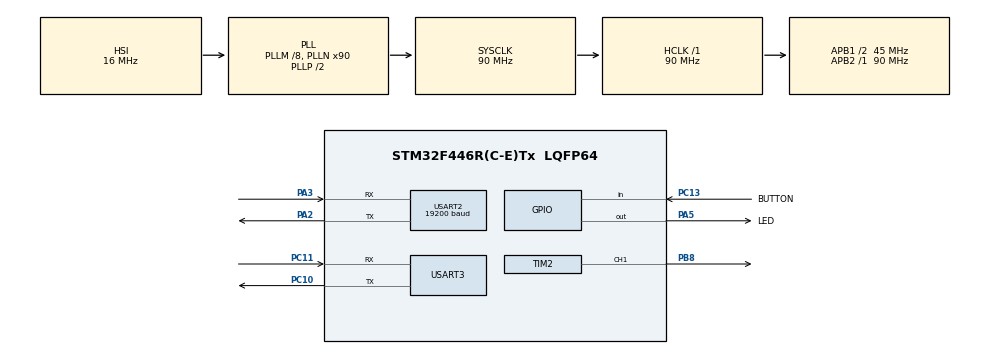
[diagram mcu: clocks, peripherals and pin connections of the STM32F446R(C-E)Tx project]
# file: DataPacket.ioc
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Mcu.Family=STM32F4
Mcu.Name=STM32F446R(C-E)Tx
Mcu.Package=LQFP64
NVIC.PriorityGroup=NVIC_PRIORITYGROUP_4
NVIC.TIM1_BRK_TIM9_IRQn=true\:0\:0\:false\:false\:true\:true\:true\:true
NVIC.USART2_IRQn=true\:0\:0\:false\:false\:true\:true\:true\:true
PA2.Mode=Asynchronous
PA2.Signal=USART2_TX
PA3.Mode=Asynchronous
PA3.Signal=USART2_RX
PA5.GPIO_Label=LED
PA5.Signal=GPIO_Output
PB8.Signal=S_TIM2_CH1_ETR
PC10.Mode=Asynchronous
PC10.Signal=USART3_TX
PC11.Mode=Asynchronous
PC11.Signal=USART3_RX
PC13.GPIO_Label=BUTTON
PC13.Signal=GPIO_Input
ProjectManager.HeapSize=0x200
ProjectManager.StackSize=0x400
ProjectManager.TargetToolchain=STM32CubeIDE
RCC.AHBFreq_Value=90000000
RCC.APB1CLKDivider=RCC_HCLK_DIV2
RCC.APB1Freq_Value=45000000
RCC.APB1TimFreq_Value=90000000
RCC.APB2Freq_Value=90000000
RCC.APB2TimFreq_Value=90000000
RCC.CortexFreq_Value=90000000
RCC.HCLKFreq_Value=90000000
RCC.PLLM=8
RCC.PLLN=90
RCC.SYSCLKFreq_VALUE=90000000
RCC.SYSCLKSource=RCC_SYSCLKSOURCE_PLLCLK
RCC.USBFreq_Value=90000000
RCC.VCOOutputFreq_Value=180000000
SH.S_TIM2_CH1_ETR.0=TIM2_CH1,PWM Generation1 CH1
TIM2.AutoReloadPreload=TIM_AUTORELOAD_PRELOAD_DISABLE
TIM2.Channel-PWM\ Generation1\ CH1=TIM_CHANNEL_1
TIM2.ClockDivision=TIM_CLOCKDIVISION_DIV1
TIM2.OC1Preload_PWM=ENABLE
TIM2.OCFastMode_PWM-PWM\ Generation1\ CH1=TIM_OCFAST_DISABLE
TIM2.OCMode_PWM-PWM\ Generation1\ CH1=TIM_OCMODE_PWM1
TIM2.Period=4500
TIM2.Prescaler=0
TIM2.Pulse-PWM\ Generation1\ CH1=2250
TIM9.Period=90
TIM9.Prescaler=100-1
USART2.BaudRate=19200
USART2.VirtualMode=VM_ASYNC
USART3.VirtualMode=VM_ASYNC
VP_TIM9_VS_ClockSourceINT.Mode=Internal
board=custom

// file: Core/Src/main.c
/* USER CODE BEGIN Header */
/**
  ******************************************************************************
  * @file           : main.c
  * @brief          : Main program body
  ******************************************************************************
  * @attention
  *
  * Copyright (c) 2023 STMicroelectronics.
  * All rights reserved.
  *
  * This software is licensed under terms that can be found in the LICENSE file
  * in the root directory of this software component.
  * If no LICENSE file comes with this software, it is provided AS-IS.
  *
  ******************************************************************************
  */
/* USER CODE END Header */
#include "main.h"

TIM_HandleTypeDef htim2;
TIM_HandleTypeDef htim9;

UART_HandleTypeDef huart2;
UART_HandleTypeDef huart3;

/* USER CODE BEGIN PV */
DataPacketTx dataPacketTx;
DataPacketRx dataPacketRx;

uint8_t receivedByte = 0x00;
uint8_t bytes[16] = {0x00, 0x01, 0x02, 0x03, 0x04, 0x05, 0x06, 0x07,
				 	 0x08, 0x09, 0x0A, 0x0B, 0x0C, 0x0D, 0x0E, 0x0F
					};

uint32_t counterTimer1 = 0;
uint32_t counterTimer2 = 0;
uint32_t counterTimer3 = 0;

Application app;
uint8_t stateMachine = 0x00;

/* USER CODE END PV */

void SystemClock_Config(void);
static void MX_GPIO_Init(void);
static void MX_USART2_UART_Init(void);
static void MX_TIM9_Init(void);
static void MX_USART3_UART_Init(void);
static void MX_TIM2_Init(void);

/* USER CODE BEGIN 0 */

/*
 * Timer interrupt handling (100us)
 */
void HAL_TIM_PeriodElapsedCallback(TIM_HandleTypeDef *htim)
{
	if (htim == &htim9)
	{
		counterTimer1++;
		counterTimer2++;
		counterTimer3++;
	}
}

/*
 * Interrupt for UART RX
 */
void HAL_UART_RxCpltCallback(UART_HandleTypeDef *huart)
{
	if (huart == &huart2)
	{
		HAL_UART_Receive_IT(&huart2, &receivedByte, 1);
		dataPacketRxAppend(&dataPacketRx, receivedByte);
		receivedByte = 0x00;
	}
}

/* USER CODE END 0 */

int main(void)
{

  /* MCU Configuration--------------------------------------------------------*/

  /* Reset of all peripherals, Initializes the Flash interface and the Systick. */
  HAL_Init();

  /* Configure the system clock */
  SystemClock_Config();

  /* Initialize all configured peripherals */
  MX_GPIO_Init();
  MX_USART2_UART_Init();
  MX_TIM9_Init();
  MX_USART3_UART_Init();
  MX_TIM2_Init();
  /* USER CODE BEGIN 2 */

  HAL_TIM_Base_Start_IT(&htim9);
  HAL_TIM_PWM_Start(&htim2, TIM_CHANNEL_1);
  dataPacketTxInit(&dataPacketTx, 0xAA, 0x55);
  dataPacketRxInit(&dataPacketRx, 0xAA, 0x55);
  applicationInit(&app, LED_GPIO_Port, LED_Pin, &htim2, TIM_CHANNEL_1);
  HAL_UART_Receive_IT(&huart2, &receivedByte, 1);

  /* USER CODE END 2 */

  /* Infinite loop */
  while (1)
  {

    /* USER CODE BEGIN 3 */

	  /* ============================================================================= */

	  /********************************* TOP SLOT START ********************************/

	  /* Put here the code to be executed in all cycles before the state machine */

	  /********************************** TOP SLOT END *********************************/

	  /* ============================================================================= */

	  /****************************** STATE MACHINE START ******************************/

	  switch (stateMachine)
	  {
	  	  case 0:
	  		  if (counterTimer1 >= DELAY_10_MILISECONDS)
	  		  {
	  			dataPacketRxDecode(&dataPacketRx);
	  			counterTimer1 = 0;
	  		  }
	  		  stateMachine = 1;
	  		  break;

		  case 1:
			  if (dataPacketRxGetDataPacketStatus(&dataPacketRx) == VALID_RX_DATA_PACKET)
			  {
				  uint8_t receivedCmd = dataPacketRxGetCommand(&dataPacketRx);
				  uint8_t receivedPayloadDataLength = dataPacketRxGetPayloadDataLength(&dataPacketRx);

				  if (receivedPayloadDataLength > 0)
				  {
					  uint8_t *receivedPayloadData = dataPacketRxGetPayloadData(&dataPacketRx);
					  applicationSetData(&app, receivedPayloadData, receivedPayloadDataLength);
				  }

				  applicationSetCommand(&app, receivedCmd);
				  applicationSetDecodeStatus(&app, TRUE);
				  dataPacketRxClear(&dataPacketRx);
			  }
			  stateMachine = 2;
			  break;

		  case 2:
			  if (applicationGetDecodeStatus(&app) == TRUE)
			  {
				  applicationDecodeCommand(&app);
				  applicationSetDecodeStatus(&app, FALSE);
			  }
			  stateMachine = 3;
			  break;

		  case 3:
			  if (counterTimer2 >= applicationGetBlinkDelay(&app))
			  {
				  applicationExecuteBlinkLed(&app);
				  counterTimer2 = 0;
			  }
			  stateMachine = 4;
			  break;

		  case 4:
			  if (counterTimer3 >= DELAY_1000_MILISECONDS)
			  {
				  dataPacketTxSetCommand(&dataPacketTx, 0x01);
				  dataPacketTxSetPayloadData(&dataPacketTx, bytes, 16);
				  dataPacketTxMount(&dataPacketTx);
				  dataPacketTxUartSend(&dataPacketTx, huart2);
				  dataPacketTxPayloadDataClear(&dataPacketTx);
				  dataPacketTxClear(&dataPacketTx);
				  counterTimer3 = 0;
			  }
			  stateMachine = 5;
			  break;

		  case 5:
			  if (applicationGetUpdateDutyCycle(&app) == TRUE)
			  {
				  applicationUpdateDutyCycle(&app);
				  applicationSetUpdateDutyCycle(&app, FALSE);
			  }
			  stateMachine = 0;
			  break;

		  default:
			  stateMachine = 0;
			  break;
	  }

	  /******************************* STATE MACHINE END *******************************/

	  /* ============================================================================= */

	  /******************************* BOTTOM SLOT START *******************************/

	  /* Put here the code to be executed in all cycles after the state machine */

	  /******************************** BOTTOM SLOT END ********************************/

	  /* ============================================================================= */
  }
  /* USER CODE END 3 */
}

void SystemClock_Config(void)
{
  RCC_OscInitTypeDef RCC_OscInitStruct = {0};
  RCC_ClkInitTypeDef RCC_ClkInitStruct = {0};

  /** Configure the main internal regulator output voltage
  */
  __HAL_RCC_PWR_CLK_ENABLE();
  __HAL_PWR_VOLTAGESCALING_CONFIG(PWR_REGULATOR_VOLTAGE_SCALE3);

  /** Initializes the RCC Oscillators according to the specified parameters
  * in the RCC_OscInitTypeDef structure.
  */
  RCC_OscInitStruct.OscillatorType = RCC_OSCILLATORTYPE_HSI;
  RCC_OscInitStruct.HSIState = RCC_HSI_ON;
  RCC_OscInitStruct.HSICalibrationValue = RCC_HSICALIBRATION_DEFAULT;
  RCC_OscInitStruct.PLL.PLLState = RCC_PLL_ON;
  RCC_OscInitStruct.PLL.PLLSource = RCC_PLLSOURCE_HSI;
  RCC_OscInitStruct.PLL.PLLM = 8;
  RCC_OscInitStruct.PLL.PLLN = 90;
  RCC_OscInitStruct.PLL.PLLP = RCC_PLLP_DIV2;
  RCC_OscInitStruct.PLL.PLLQ = 2;
  RCC_OscInitStruct.PLL.PLLR = 2;
  if (HAL_RCC_OscConfig(&RCC_OscInitStruct) != HAL_OK)
  {
    Error_Handler();
  }

  /** Initializes the CPU, AHB and APB buses clocks
  */
  RCC_ClkInitStruct.ClockType = RCC_CLOCKTYPE_HCLK|RCC_CLOCKTYPE_SYSCLK
                              |RCC_CLOCKTYPE_PCLK1|RCC_CLOCKTYPE_PCLK2;
  RCC_ClkInitStruct.SYSCLKSource = RCC_SYSCLKSOURCE_PLLCLK;
  RCC_ClkInitStruct.AHBCLKDivider = RCC_SYSCLK_DIV1;
  RCC_ClkInitStruct.APB1CLKDivider = RCC_HCLK_DIV2;
  RCC_ClkInitStruct.APB2CLKDivider = RCC_HCLK_DIV1;

  if (HAL_RCC_ClockConfig(&RCC_ClkInitStruct, FLASH_LATENCY_2) != HAL_OK)
  {
    Error_Handler();
  }
}

static void MX_TIM2_Init(void)
{

  TIM_MasterConfigTypeDef sMasterConfig = {0};
  TIM_OC_InitTypeDef sConfigOC = {0};

  htim2.Instance = TIM2;
  htim2.Init.Prescaler = 0;
  htim2.Init.CounterMode = TIM_COUNTERMODE_UP;
  htim2.Init.Period = 4500;
  htim2.Init.ClockDivision = TIM_CLOCKDIVISION_DIV1;
  htim2.Init.AutoReloadPreload = TIM_AUTORELOAD_PRELOAD_DISABLE;
  if (HAL_TIM_PWM_Init(&htim2) != HAL_OK)
  {
    Error_Handler();
  }
  sMasterConfig.MasterOutputTrigger = TIM_TRGO_RESET;
  sMasterConfig.MasterSlaveMode = TIM_MASTERSLAVEMODE_DISABLE;
  if (HAL_TIMEx_MasterConfigSynchronization(&htim2, &sMasterConfig) != HAL_OK)
  {
    Error_Handler();
  }
  sConfigOC.OCMode = TIM_OCMODE_PWM1;
  sConfigOC.Pulse = 2250;
  sConfigOC.OCPolarity = TIM_OCPOLARITY_HIGH;
  sConfigOC.OCFastMode = TIM_OCFAST_DISABLE;
  if (HAL_TIM_PWM_ConfigChannel(&htim2, &sConfigOC, TIM_CHANNEL_1) != HAL_OK)
  {
    Error_Handler();
  }
  HAL_TIM_MspPostInit(&htim2);

}

static void MX_TIM9_Init(void)
{

  TIM_ClockConfigTypeDef sClockSourceConfig = {0};

  htim9.Instance = TIM9;
  htim9.Init.Prescaler = 100-1;
  htim9.Init.CounterMode = TIM_COUNTERMODE_UP;
  htim9.Init.Period = 90;
  htim9.Init.ClockDivision = TIM_CLOCKDIVISION_DIV1;
  htim9.Init.AutoReloadPreload = TIM_AUTORELOAD_PRELOAD_DISABLE;
  if (HAL_TIM_Base_Init(&htim9) != HAL_OK)
  {
    Error_Handler();
  }
  sClockSourceConfig.ClockSource = TIM_CLOCKSOURCE_INTERNAL;
  if (HAL_TIM_ConfigClockSource(&htim9, &sClockSourceConfig) != HAL_OK)
  {
    Error_Handler();
  }

}

static void MX_USART2_UART_Init(void)
{

  huart2.Instance = USART2;
  huart2.Init.BaudRate = 19200;
  huart2.Init.WordLength = UART_WORDLENGTH_8B;
  huart2.Init.StopBits = UART_STOPBITS_1;
  huart2.Init.Parity = UART_PARITY_NONE;
  huart2.Init.Mode = UART_MODE_TX_RX;
  huart2.Init.HwFlowCtl = UART_HWCONTROL_NONE;
  huart2.Init.OverSampling = UART_OVERSAMPLING_16;
  if (HAL_UART_Init(&huart2) != HAL_OK)
  {
    Error_Handler();
  }

}

static void MX_USART3_UART_Init(void)
{

  huart3.Instance = USART3;
  huart3.Init.BaudRate = 115200;
  huart3.Init.WordLength = UART_WORDLENGTH_8B;
  huart3.Init.StopBits = UART_STOPBITS_1;
  huart3.Init.Parity = UART_PARITY_NONE;
  huart3.Init.Mode = UART_MODE_TX_RX;
  huart3.Init.HwFlowCtl = UART_HWCONTROL_NONE;
  huart3.Init.OverSampling = UART_OVERSAMPLING_16;
  if (HAL_UART_Init(&huart3) != HAL_OK)
  {
    Error_Handler();
  }

}

static void MX_GPIO_Init(void)
{
  GPIO_InitTypeDef GPIO_InitStruct = {0};

  /* GPIO Ports Clock Enable */
  __HAL_RCC_GPIOC_CLK_ENABLE();
  __HAL_RCC_GPIOA_CLK_ENABLE();
  __HAL_RCC_GPIOB_CLK_ENABLE();

  /*Configure GPIO pin Output Level */
  HAL_GPIO_WritePin(LED_GPIO_Port, LED_Pin, GPIO_PIN_RESET);

  /*Configure GPIO pin : BUTTON_Pin */
  GPIO_InitStruct.Pin = BUTTON_Pin;
  GPIO_InitStruct.Mode = GPIO_MODE_INPUT;
  GPIO_InitStruct.Pull = GPIO_NOPULL;
  HAL_GPIO_Init(BUTTON_GPIO_Port, &GPIO_InitStruct);

  /*Configure GPIO pin : LED_Pin */
  GPIO_InitStruct.Pin = LED_Pin;
  GPIO_InitStruct.Mode = GPIO_MODE_OUTPUT_PP;
  GPIO_InitStruct.Pull = GPIO_NOPULL;
  GPIO_InitStruct.Speed = GPIO_SPEED_FREQ_LOW;
  HAL_GPIO_Init(LED_GPIO_Port, &GPIO_InitStruct);

}

void Error_Handler(void)
{
  __disable_irq();
  while (1)
  {
  }
}
